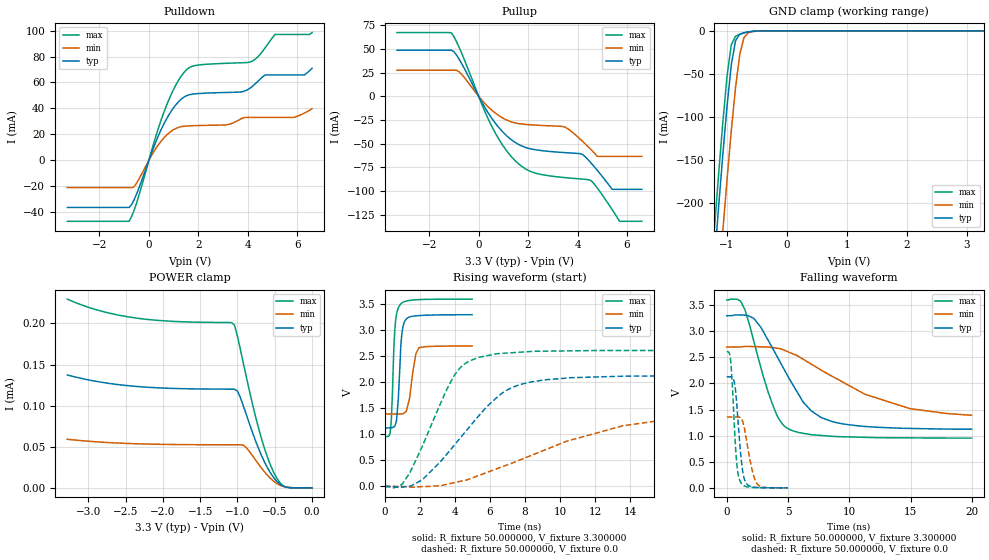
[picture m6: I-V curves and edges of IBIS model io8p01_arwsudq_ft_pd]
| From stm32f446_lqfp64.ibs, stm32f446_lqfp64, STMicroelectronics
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|   Model io8p01_arwsudq_ft_pd
[Model]  io8p01_arwsudq_ft_pd
Model_type I/O
Polarity   Non-Inverting
Enable   Active-Low
Vinl =   0.990000V
Vinh =   2.310000V
Vmeas =  1.650000V
Cref =   50.000000pF
Rref =   100.000000M
Vref =   0.0V
C_comp   2.905500pF   2.823600pF   2.987900pF
[Temperature Range]   25.000000   0.125000k   -40.000000
[Pullup Reference]   3.300000V   2.700000V   3.600000V
[Pulldown Reference]   0.0V   0.0V   0.0V
[POWER Clamp Reference]   3.300000V   2.700000V   3.600000V
[GND Clamp Reference]   0.0V   0.0V   0.0V
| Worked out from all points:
|   slope of the pulldown table from 0 to 0.495 V, typ, clamps not added: 20.9 ohm
|   slope of the pullup table from 0 to 0.495 V, typ, clamps not added: 22.6 ohm
|   GND clamp passes 1 mA (typ) near -0.62 V on its own axis
|   rising waveform, R_fixture 50.000000, V_fixture 3.300000: 20-80 % time 213ps typ, 338ps min, 189ps max; typ from 1.12 V to 3.3 V
|   rising waveform, R_fixture 50.000000, V_fixture 0.0: 20-80 % time 3.35ns typ, 6.88ns min, 2.1ns max; typ from 0 V to 2.13 V
|   falling waveform, R_fixture 50.000000, V_fixture 3.300000: 20-80 % time 3.27ns typ, 6.72ns min, 2.01ns max; typ from 3.3 V to 1.12 V
|   falling waveform, R_fixture 50.000000, V_fixture 0.0: 20-80 % time 460ps typ, 654ps min, 373ps max; typ from 2.13 V to 0 V
[Pulldown]
|Voltage   I(typ)   I(min)   I(max)
-3.3V     -36.4mA    -21.07mA   -47.09mA
-800mV    -36.4mA    -21.07mA   -47.09mA
-600mV    -30.5mA    -20.54mA   -38.69mA
700mV     31.4mA     19.11mA    41.71mA
1.2V      45.15mA    25.37mA    61.75mA
1.6V      50.35mA    26.5mA     71.06mA
3.1V      52.27mA    27.26mA    74.75mA
4.1V      55.71mA    33.04mA    75.8mA
4.7V      65.8mA     33.04mA    86.69mA
5.1V      65.8mA     33.04mA    97.03mA
6.3V      65.87mA    36.5mA     97.03mA
6.6V      70.92mA    39.71mA    98.48mA
[Pullup]
|Voltage   I(typ)   I(min)   I(max)
-3.3V     48.55mA    27.44mA    67.2mA
-1.1V     48.55mA    27.44mA    66.9mA
-700mV    35.13mA    23.48mA    46.33mA
500mV     -22.07mA   -14mA      -30.03mA
1.5V      -49.1mA    -28.3mA    -68.56mA
2.2V      -56.04mA   -30.32mA   -80.35mA
3.5V      -59.53mA   -32.66mA   -85.92mA
4.5V      -69.08mA   -55.13mA   -88.39mA
4.8V      -78.24mA   -63.5mA    -96.88mA
5.4V      -98.3mA    -63.5mA    -119.6mA
5.7V      -98.3mA    -63.5mA    -132mA
6.6V      -98.3mA    -63.5mA    -132mA
[GND_clamp]
|Voltage   I(typ)   I(min)   I(max)
-3.3V     -2.317A    -2.396A    -2.29A
-1.2V     -266mA     -356.3mA   -228.4mA
-1.13V    -203.2mA   -293mA     -165.3mA
-1.06V    -142.7mA   -231.3mA   -105.2mA
-990mV    -86.51mA   -171.7mA   -51.78mA
-920mV    -39.3mA    -115.7mA   -15.95mA
-850mV    -11.38mA   -65.76mA   -6.112mA
-780mV    -3.842mA   -27.55mA   -3.895mA
-710mV    -2.102mA   -7.755mA   -2.396mA
-640mV    -1.159mA   -2.138mA   -1.234mA
-570mV    -535.1uA   -809uA     -490.4uA
3.28V     81.28uA    57.87uA    93.98uA
[POWER_clamp]
|Voltage   I(typ)   I(min)   I(max)
-3.28V    137.3uA    59.14uA    229.6uA
-2.36V    123.4uA    53.65uA    206.6uA
-1.08V    120.1uA    52.41uA    201.1uA
-1.04V    120uA      52.41uA    198uA
-1V       117.7uA    52.4uA     184.5uA
-920mV    99.46uA    51.91uA    151.2uA
-720mV    48.42uA    29.12uA    73.51uA
-600mV    24.82uA    15.47uA    37.72uA
-520mV    13.1uA     8.45uA     19.84uA
-440mV    5.058uA    3.61uA     7.276uA
-360mV    1.193uA    1.129uA    1.311uA
0V        0A         0A         0A
[Ramp]
| variable   typ   min   max
dV/dt_r  1.27680/3.34462n   0.79836/6.88465n   1.56659/2.10027n
dV/dt_f  1.30212/3.27572n   0.74022/6.66065n   1.58738/2.00895n
R_load = 50.000000
[Rising Waveform]
R_fixture= 50.000000
V_fixture= 3.300000
V_fixture_min= 2.700000
V_fixture_max= 3.600000
|time   V(typ)   V(min)   V(max)
0s        1.123V     1.391V     953.9mV
300.3ps   1.125V     1.391V     1.012V
370.4ps   1.127V     1.391V     1.254V
570.6ps   1.158V     1.391V     2.997V
670.7ps   1.27V      1.39V      3.305V
830.8ps   2.083V     1.39V      3.468V
981ps     2.945V     1.393V     3.525V
1.241ns   3.219V     1.454V     3.561V
1.962ns   3.282V     2.668V     3.588V
4.985ns   3.299V     2.699V     3.598V
[Rising Waveform]
R_fixture= 50.000000
V_fixture= 0.0
V_fixture_min= 0.0
V_fixture_max= 0.0
|time   V(typ)   V(min)   V(max)
0s        360.8uV    205.7uV    689.3uV
1.001ns   -14.87mV   -990uV     47.26mV
2.162ns   132.8mV    -2.671mV   786.9mV
3.964ns   789.9mV    71.54mV    2.126V
4.565ns   1.034V     116.5mV    2.354V
5.325ns   1.34V      204.8mV    2.475V
6.767ns   1.808V     385.2mV    2.557V
8.408ns   2.01V      601.3mV    2.594V
13.61ns   2.117V     1.166V     2.611V
19.94ns   2.127V     1.357V     2.611V
[Falling Waveform]
R_fixture= 50.000000
V_fixture= 3.300000
V_fixture_min= 2.700000
V_fixture_max= 3.600000
|time   V(typ)   V(min)   V(max)
0s        3.299V     2.699V     3.598V
920.9ps   3.313V     2.699V     3.607V
1.481ns   3.307V     2.709V     3.415V
2.202ns   3.247V     2.707V     2.813V
3.764ns   2.663V     2.687V     1.579V
5.005ns   2.128V     2.606V     1.133V
6.847ns   1.485V     2.377V     1.02V
8.488ns   1.278V     2.151V     989.5mV
14.89ns   1.139V     1.52V      958.1mV
19.94ns   1.123V     1.391V     953.9mV
[Falling Waveform]
R_fixture= 50.000000
V_fixture= 0.0
V_fixture_min= 0.0
V_fixture_max= 0.0
|time   V(typ)   V(min)   V(max)
0s        2.127V     1.357V     2.611V
300.3ps   2.129V     1.357V     2.481V
620.6ps   2.022V     1.357V     1.196V
820.8ps   1.594V     1.359V     454.5mV
1.091ns   765.9mV    1.351V     131.2mV
1.291ns   332.3mV    1.279V     61.22mV
1.481ns   139mV      1.092V     34.01mV
2.142ns   16.11mV    268.7mV    6.517mV
2.442ns   8.423mV    87.97mV    4.67mV
4.985ns   360.8uV    205.7uV    689.3uV
